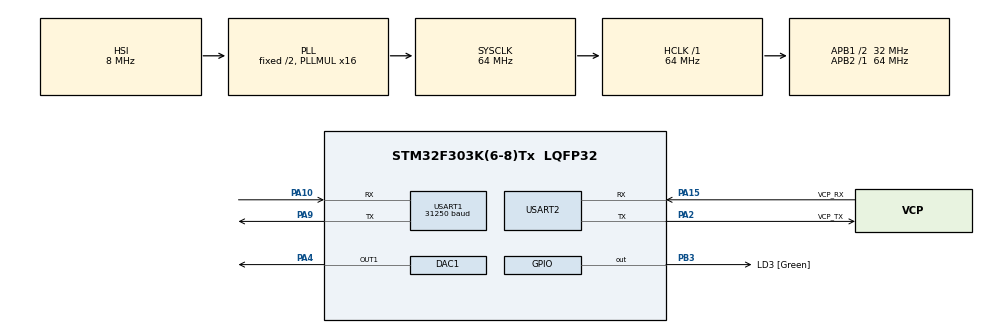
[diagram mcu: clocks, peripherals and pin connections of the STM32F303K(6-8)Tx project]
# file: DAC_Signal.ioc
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DAC1.DAC_OutputBuffer=DAC_OUTPUTBUFFER_ENABLE
Mcu.Family=STM32F3
Mcu.Name=STM32F303K(6-8)Tx
Mcu.Package=LQFP32
NVIC.PriorityGroup=NVIC_PRIORITYGROUP_4
NVIC.TIM2_IRQn=true\:0\:0\:false\:false\:true\:true
PA10.Mode=Asynchronous
PA10.Signal=USART1_RX
PA13.GPIO_Label=SWDIO
PA13.Mode=Serial_Wire
PA13.Signal=SYS_JTMS-SWDIO
PA14.GPIO_Label=SWCLK
PA14.Mode=Serial_Wire
PA14.Signal=SYS_JTCK-SWCLK
PA15.GPIO_Label=VCP_RX
PA15.Mode=Asynchronous
PA15.Signal=USART2_RX
PA2.GPIO_Label=VCP_TX
PA2.Mode=Asynchronous
PA2.Signal=USART2_TX
PA4.Signal=COMP_DAC11_group
PA9.Mode=Asynchronous
PA9.Signal=USART1_TX
PB3.GPIO_Label=LD3 [Green]
PB3.Signal=GPIO_Output
PF0\ /\ OSC_IN.GPIO_Label=MCO
PF0\ /\ OSC_IN.Mode=HSE-External-Clock-Source
PF0\ /\ OSC_IN.Signal=RCC_OSC_IN
ProjectManager.HeapSize=0x200
ProjectManager.StackSize=0x400
ProjectManager.TargetToolchain=TrueSTUDIO
RCC.AHBFreq_Value=64000000
RCC.APB1CLKDivider=RCC_HCLK_DIV2
RCC.APB1Freq_Value=32000000
RCC.APB1TimFreq_Value=64000000
RCC.APB2Freq_Value=64000000
RCC.APB2TimFreq_Value=64000000
RCC.CortexFreq_Value=64000000
RCC.HCLKFreq_Value=64000000
RCC.HSE_VALUE=8000000
RCC.HSI_VALUE=8000000
RCC.PLLMUL=RCC_PLL_MUL16
RCC.SYSCLKFreq_VALUE=64000000
RCC.SYSCLKSourceVirtual=RCC_SYSCLKSOURCE_PLLCLK
SH.COMP_DAC11_group.0=DAC1_OUT1,DAC_OUT1
TIM2.Period=80
TIM2.Prescaler=31999
USART1.BaudRate=31250
USART1.Mode=MODE_RX
USART1.VirtualMode-Asynchronous=VM_ASYNC
USART2.VirtualMode-Asynchronous=VM_ASYNC
VP_TIM2_VS_ClockSourceINT.Mode=Internal
board=NUCLEO-F303K8

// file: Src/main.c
/* USER CODE BEGIN Header */
/**
  ******************************************************************************
  * @file           : main.c
  * @brief          : Main program body
  ******************************************************************************
  ** This notice applies to any and all portions of this file
  * that are not between comment pairs USER CODE BEGIN and
  * USER CODE END. Other portions of this file, whether
  * inserted by the user or by software development tools
  * are owned by their respective copyright owners.
  *
  * COPYRIGHT(c) 2019 STMicroelectronics
  *
  * Redistribution and use in source and binary forms, with or without modification,
  * are permitted provided that the following conditions are met:
  *   1. Redistributions of source code must retain the above copyright notice,
  *      this list of conditions and the following disclaimer.
  *   2. Redistributions in binary form must reproduce the above copyright notice,
  *      this list of conditions and the following disclaimer in the documentation
  *      and/or other materials provided with the distribution.
  *   3. Neither the name of STMicroelectronics nor the names of its contributors
  *      may be used to endorse or promote products derived from this software
  *      without specific prior written permission.
  *
  * THIS SOFTWARE IS PROVIDED BY THE COPYRIGHT HOLDERS AND CONTRIBUTORS "AS IS"
  * AND ANY EXPRESS OR IMPLIED WARRANTIES, INCLUDING, BUT NOT LIMITED TO, THE
  * IMPLIED WARRANTIES OF MERCHANTABILITY AND FITNESS FOR A PARTICULAR PURPOSE ARE
  * DISCLAIMED. IN NO EVENT SHALL THE COPYRIGHT HOLDER OR CONTRIBUTORS BE LIABLE
  * FOR ANY DIRECT, INDIRECT, INCIDENTAL, SPECIAL, EXEMPLARY, OR CONSEQUENTIAL
  * DAMAGES (INCLUDING, BUT NOT LIMITED TO, PROCUREMENT OF SUBSTITUTE GOODS OR
  * SERVICES; LOSS OF USE, DATA, OR PROFITS; OR BUSINESS INTERRUPTION) HOWEVER
  * CAUSED AND ON ANY THEORY OF LIABILITY, WHETHER IN CONTRACT, STRICT LIABILITY,
  * OR TORT (INCLUDING NEGLIGENCE OR OTHERWISE) ARISING IN ANY WAY OUT OF THE USE
  * OF THIS SOFTWARE, EVEN IF ADVISED OF THE POSSIBILITY OF SUCH DAMAGE.
  *
  ******************************************************************************
  */
/* USER CODE END Header */

#include "main.h"

/* USER CODE BEGIN Includes */
#include "math.h"
/* USER CODE END Includes */

/* USER CODE BEGIN PD */
#define N_MUESTRAS 50
#define F_CLK 64000000
#define PI 3.14159
/* USER CODE END PD */

DAC_HandleTypeDef hdac1;

TIM_HandleTypeDef htim2;

UART_HandleTypeDef huart1;
UART_HandleTypeDef huart2;

/* USER CODE BEGIN PV */
static uint16_t signal[N_MUESTRAS];
static uint8_t indice = 0;
/* USER CODE END PV */

void SystemClock_Config(void);
static void MX_GPIO_Init(void);
static void MX_USART2_UART_Init(void);
static void MX_DAC1_Init(void);
static void MX_TIM2_Init(void);
static void MX_USART1_UART_Init(void);

int main(void)
{

  /* MCU Configuration--------------------------------------------------------*/

  /* Reset of all peripherals, Initializes the Flash interface and the Systick. */
  HAL_Init();

  /* Configure the system clock */
  SystemClock_Config();

  /* Initialize all configured peripherals */
  MX_GPIO_Init();
  MX_USART2_UART_Init();
  MX_DAC1_Init();
  MX_TIM2_Init();
  MX_USART1_UART_Init();
  /* USER CODE BEGIN 2 */
  calculo_senal(50);
//  set_timer_DAC(32000, 20);
  HAL_DAC_Start(&hdac1, DAC_CHANNEL_1);
  HAL_TIM_Base_Start_IT(&htim2);

  /* USER CODE END 2 */

  /* Infinite loop */
  while (1)
  {

  }
}

void SystemClock_Config(void)
{
  RCC_OscInitTypeDef RCC_OscInitStruct = {0};
  RCC_ClkInitTypeDef RCC_ClkInitStruct = {0};
  RCC_PeriphCLKInitTypeDef PeriphClkInit = {0};

  /**Initializes the CPU, AHB and APB busses clocks
  */
  RCC_OscInitStruct.OscillatorType = RCC_OSCILLATORTYPE_HSI;
  RCC_OscInitStruct.HSIState = RCC_HSI_ON;
  RCC_OscInitStruct.HSICalibrationValue = RCC_HSICALIBRATION_DEFAULT;
  RCC_OscInitStruct.PLL.PLLState = RCC_PLL_ON;
  RCC_OscInitStruct.PLL.PLLSource = RCC_PLLSOURCE_HSI;
  RCC_OscInitStruct.PLL.PLLMUL = RCC_PLL_MUL16;
  if (HAL_RCC_OscConfig(&RCC_OscInitStruct) != HAL_OK)
  {
    Error_Handler();
  }
  /**Initializes the CPU, AHB and APB busses clocks
  */
  RCC_ClkInitStruct.ClockType = RCC_CLOCKTYPE_HCLK|RCC_CLOCKTYPE_SYSCLK
                              |RCC_CLOCKTYPE_PCLK1|RCC_CLOCKTYPE_PCLK2;
  RCC_ClkInitStruct.SYSCLKSource = RCC_SYSCLKSOURCE_PLLCLK;
  RCC_ClkInitStruct.AHBCLKDivider = RCC_SYSCLK_DIV1;
  RCC_ClkInitStruct.APB1CLKDivider = RCC_HCLK_DIV2;
  RCC_ClkInitStruct.APB2CLKDivider = RCC_HCLK_DIV1;

  if (HAL_RCC_ClockConfig(&RCC_ClkInitStruct, FLASH_LATENCY_2) != HAL_OK)
  {
    Error_Handler();
  }
  PeriphClkInit.PeriphClockSelection = RCC_PERIPHCLK_USART1;
  PeriphClkInit.Usart1ClockSelection = RCC_USART1CLKSOURCE_PCLK1;
  if (HAL_RCCEx_PeriphCLKConfig(&PeriphClkInit) != HAL_OK)
  {
    Error_Handler();
  }
}

static void MX_DAC1_Init(void)
{

  DAC_ChannelConfTypeDef sConfig = {0};

  /**DAC Initialization
  */
  hdac1.Instance = DAC1;
  if (HAL_DAC_Init(&hdac1) != HAL_OK)
  {
    Error_Handler();
  }
  /**DAC channel OUT1 config
  */
  sConfig.DAC_Trigger = DAC_TRIGGER_NONE;
  sConfig.DAC_OutputBuffer = DAC_OUTPUTBUFFER_ENABLE;
  if (HAL_DAC_ConfigChannel(&hdac1, &sConfig, DAC_CHANNEL_1) != HAL_OK)
  {
    Error_Handler();
  }

}

static void MX_TIM2_Init(void)
{

  TIM_ClockConfigTypeDef sClockSourceConfig = {0};
  TIM_MasterConfigTypeDef sMasterConfig = {0};

  htim2.Instance = TIM2;
  htim2.Init.Prescaler = 31999;
  htim2.Init.CounterMode = TIM_COUNTERMODE_UP;
  htim2.Init.Period = 80;
  htim2.Init.ClockDivision = TIM_CLOCKDIVISION_DIV1;
  htim2.Init.AutoReloadPreload = TIM_AUTORELOAD_PRELOAD_DISABLE;
  if (HAL_TIM_Base_Init(&htim2) != HAL_OK)
  {
    Error_Handler();
  }
  sClockSourceConfig.ClockSource = TIM_CLOCKSOURCE_INTERNAL;
  if (HAL_TIM_ConfigClockSource(&htim2, &sClockSourceConfig) != HAL_OK)
  {
    Error_Handler();
  }
  sMasterConfig.MasterOutputTrigger = TIM_TRGO_RESET;
  sMasterConfig.MasterSlaveMode = TIM_MASTERSLAVEMODE_DISABLE;
  if (HAL_TIMEx_MasterConfigSynchronization(&htim2, &sMasterConfig) != HAL_OK)
  {
    Error_Handler();
  }

}

static void MX_USART1_UART_Init(void)
{

  huart1.Instance = USART1;
  huart1.Init.BaudRate = 31250;
  huart1.Init.WordLength = UART_WORDLENGTH_8B;
  huart1.Init.StopBits = UART_STOPBITS_1;
  huart1.Init.Parity = UART_PARITY_NONE;
  huart1.Init.Mode = UART_MODE_RX;
  huart1.Init.HwFlowCtl = UART_HWCONTROL_NONE;
  huart1.Init.OverSampling = UART_OVERSAMPLING_16;
  huart1.Init.OneBitSampling = UART_ONE_BIT_SAMPLE_DISABLE;
  huart1.AdvancedInit.AdvFeatureInit = UART_ADVFEATURE_NO_INIT;
  if (HAL_UART_Init(&huart1) != HAL_OK)
  {
    Error_Handler();
  }

}

static void MX_USART2_UART_Init(void)
{

  huart2.Instance = USART2;
  huart2.Init.BaudRate = 38400;
  huart2.Init.WordLength = UART_WORDLENGTH_8B;
  huart2.Init.StopBits = UART_STOPBITS_1;
  huart2.Init.Parity = UART_PARITY_NONE;
  huart2.Init.Mode = UART_MODE_TX_RX;
  huart2.Init.HwFlowCtl = UART_HWCONTROL_NONE;
  huart2.Init.OverSampling = UART_OVERSAMPLING_16;
  huart2.Init.OneBitSampling = UART_ONE_BIT_SAMPLE_DISABLE;
  huart2.AdvancedInit.AdvFeatureInit = UART_ADVFEATURE_NO_INIT;
  if (HAL_UART_Init(&huart2) != HAL_OK)
  {
    Error_Handler();
  }

}

static void MX_GPIO_Init(void)
{
  GPIO_InitTypeDef GPIO_InitStruct = {0};

  /* GPIO Ports Clock Enable */
  __HAL_RCC_GPIOF_CLK_ENABLE();
  __HAL_RCC_GPIOA_CLK_ENABLE();
  __HAL_RCC_GPIOB_CLK_ENABLE();

  /*Configure GPIO pin Output Level */
  HAL_GPIO_WritePin(LD3_GPIO_Port, LD3_Pin, GPIO_PIN_RESET);

  /*Configure GPIO pin : LD3_Pin */
  GPIO_InitStruct.Pin = LD3_Pin;
  GPIO_InitStruct.Mode = GPIO_MODE_OUTPUT_PP;
  GPIO_InitStruct.Pull = GPIO_NOPULL;
  GPIO_InitStruct.Speed = GPIO_SPEED_FREQ_LOW;
  HAL_GPIO_Init(LD3_GPIO_Port, &GPIO_InitStruct);

}

/* USER CODE BEGIN 4 */
void dac_signal(void) {

	uint16_t data;

	data=signal[indice];

	HAL_DAC_SetValue(&hdac1, DAC_CHANNEL_1, DAC_ALIGN_12B_R, data);
	indice++;
	if (indice >= N_MUESTRAS) {
		indice = 0;
	}
}

void calculo_senal(uint8_t duty_cycle){
	for (uint8_t i=0; i<N_MUESTRAS;i++){
			signal[i] = (sin(i*2*PI/N_MUESTRAS)+1)*(4095+1)/2;
	}
}

void set_timer_DAC(uint16_t PS, uint16_t T){
	__HAL_TIM_SET_PRESCALER(&htim2, PS-1);
	__HAL_TIM_SET_AUTORELOAD(&htim2, T-1);   // Do 7 (nota mas aguda)
}

void HAL_TIM_PeriodElapsedCallback(TIM_HandleTypeDef *htim){
	if(htim==&htim2){
		dac_signal();
	}
}
/* USER CODE END 4 */

void Error_Handler(void)
{
}

/************************ (C) COPYRIGHT STMicroelectronics *****END OF FILE****/
